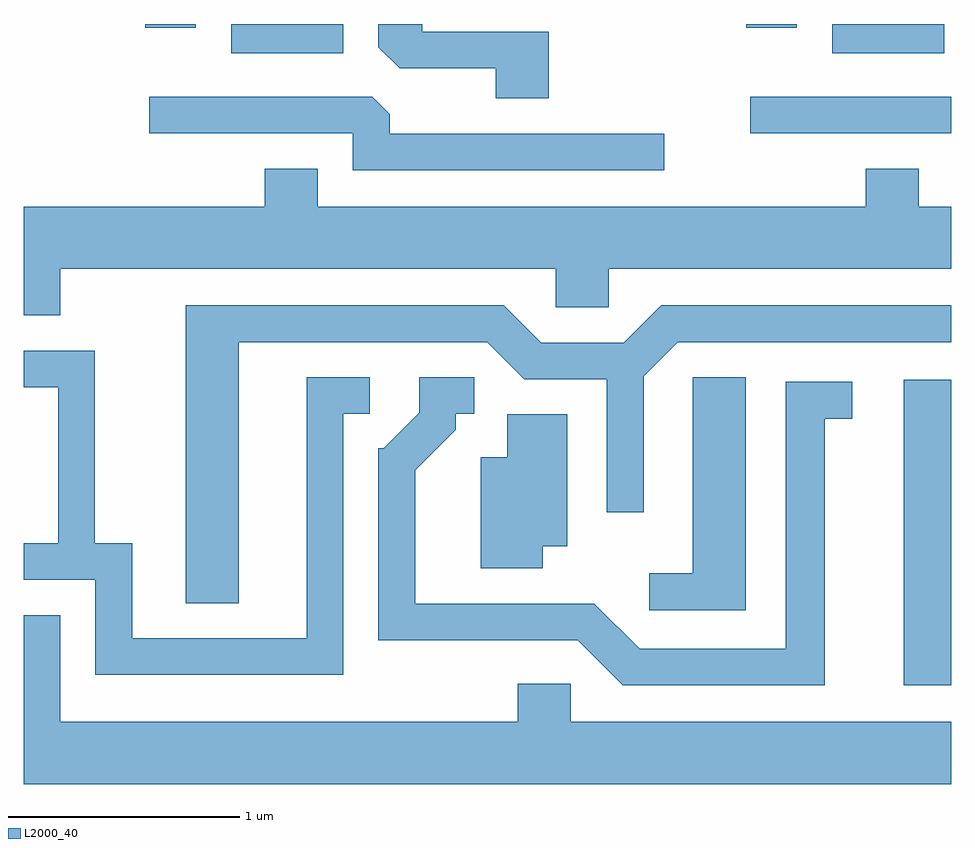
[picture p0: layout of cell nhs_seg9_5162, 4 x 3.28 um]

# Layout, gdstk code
import gdstk
lib = gdstk.Library(unit=1e-6, precision=1e-09)
def R(c, l, rs):  # rectangles x0, y0, x1, y1
    for r in rs: c.add(gdstk.rectangle(r[:2], r[2:], *l))
def P(c, l, *ps):  # polygons
    for p in ps: c.add(gdstk.Polygon(p, *l))
L2000_40 = (2000, 40)

nhs_seg9_5162 = lib.new_cell('nhs_seg9_5162')
R(nhs_seg9_5162, L2000_40, [(341.406,1985.581,341.611,1986.899), (340.743,1987.961,341.611,1988.119), (338.506,1988.306,338.989,1988.432), (341.096,1988.306,341.579,1988.432), (338.136,1988.416,338.354,1988.432), (340.726,1988.416,340.944,1988.432)])
P(nhs_seg9_5162, L2000_40, [(339.874,1988.399),(339.329,1988.399),(339.329,1988.432),(339.141,1988.432),(339.141,1988.332),(339.232,1988.241),(339.646,1988.241),(339.646,1988.111),(339.874,1988.111)],
  [(340.373,1987.959),(339.189,1987.959),(339.189,1988.044),(339.114,1988.119),(338.153,1988.119),(338.153,1987.961),(339.031,1987.961),(339.031,1987.801),(340.373,1987.801)],
  [(337.769,1987.376),(339.906,1987.376),(339.906,1987.211),(340.134,1987.211),(340.134,1987.376),(341.611,1987.376),(341.611,1987.644),(341.469,1987.644),(341.469,1987.809),(341.241,1987.809),(341.241,1987.644),(338.879,1987.644),(338.879,1987.809),(338.651,1987.809),(338.651,1987.644),(337.611,1987.644),(337.611,1987.176),(337.769,1987.176)],
  [(338.539,1987.061),(339.609,1987.061),(339.769,1986.901),(340.126,1986.901),(340.126,1986.328),(340.284,1986.328),(340.284,1986.914),(340.432,1987.061),(341.611,1987.061),(341.611,1987.219),(340.359,1987.219),(340.199,1987.059),(339.842,1987.059),(339.682,1987.219),(338.311,1987.219),(338.311,1985.936),(338.539,1985.936)],
  [(338.989,1986.751),(339.103,1986.751),(339.103,1986.909),(338.831,1986.909),(338.831,1985.784),(338.079,1985.784),(338.079,1986.194),(337.919,1986.194),(337.919,1987.024),(337.611,1987.024),(337.611,1986.866),(337.761,1986.866),(337.761,1986.194),(337.611,1986.194),(337.611,1986.036),(337.921,1986.036),(337.921,1985.626),(338.989,1985.626)],
  [(341.064,1986.731),(341.183,1986.731),(341.183,1986.889),(340.896,1986.889),(340.896,1985.739),(340.267,1985.739),(340.072,1985.934),(339.299,1985.934),(339.299,1986.509),(339.474,1986.684),(339.474,1986.751),(339.553,1986.751),(339.553,1986.909),(339.316,1986.909),(339.316,1986.757),(339.164,1986.604),(339.141,1986.604),(339.141,1985.776),(339.999,1985.776),(340.194,1985.581),(341.064,1985.581)],
  [(340.724,1986.909),(340.496,1986.909),(340.496,1986.064),(340.308,1986.064),(340.308,1985.906),(340.724,1985.906)],
  [(339.849,1986.181),(339.954,1986.181),(339.954,1986.749),(339.696,1986.749),(339.696,1986.564),(339.581,1986.564),(339.581,1986.086),(339.849,1986.086)],
  [(341.611,1985.424),(339.969,1985.424),(339.969,1985.589),(339.741,1985.589),(339.741,1985.424),(337.769,1985.424),(337.769,1985.884),(337.611,1985.884),(337.611,1985.156),(341.611,1985.156)])

lib.write_gds('nhs_seg9_5162.gds')
